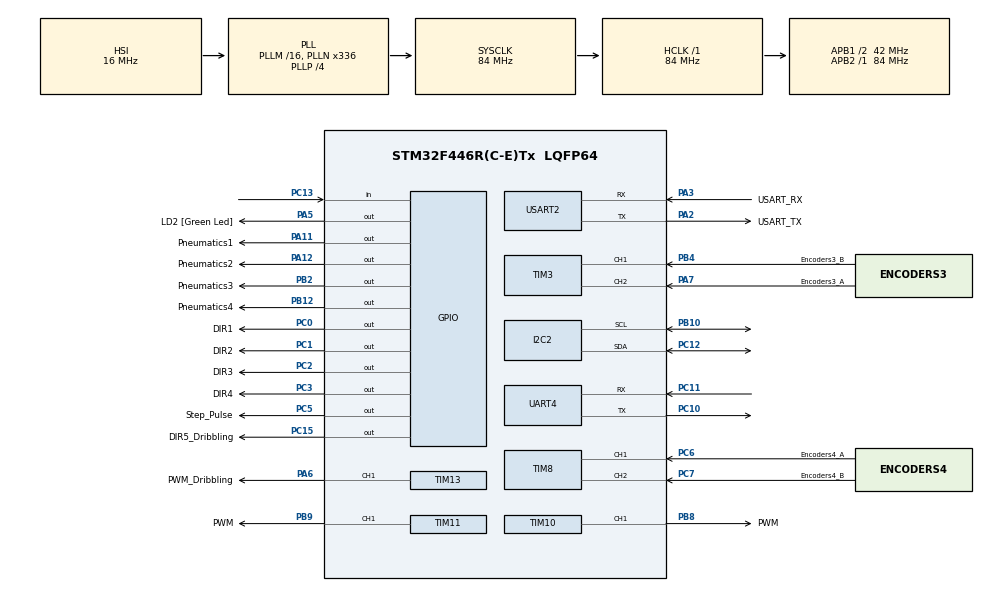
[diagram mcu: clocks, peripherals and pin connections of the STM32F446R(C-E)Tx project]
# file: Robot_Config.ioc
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Dma.Request0=UART4_RX
Dma.UART4_RX.0.Direction=DMA_PERIPH_TO_MEMORY
Dma.UART4_RX.0.FIFOMode=DMA_FIFOMODE_DISABLE
Dma.UART4_RX.0.Instance=DMA1_Stream2
Dma.UART4_RX.0.MemDataAlignment=DMA_MDATAALIGN_BYTE
Dma.UART4_RX.0.MemInc=DMA_MINC_ENABLE
Dma.UART4_RX.0.Mode=DMA_CIRCULAR
Dma.UART4_RX.0.PeriphDataAlignment=DMA_PDATAALIGN_BYTE
Dma.UART4_RX.0.PeriphInc=DMA_PINC_DISABLE
Dma.UART4_RX.0.Priority=DMA_PRIORITY_LOW
Mcu.Family=STM32F4
Mcu.Name=STM32F446R(C-E)Tx
Mcu.Package=LQFP64
NVIC.DMA1_Stream2_IRQn=true\:0\:0\:false\:false\:true\:false\:true\:true
NVIC.PriorityGroup=NVIC_PRIORITYGROUP_0
NVIC.UART4_IRQn=true\:0\:0\:false\:false\:true\:true\:true\:true
PA11.GPIO_Label=Pneumatics1
PA11.Signal=GPIO_Output
PA12.GPIO_Label=Pneumatics2
PA12.Signal=GPIO_Output
PA13.GPIO_Label=TMS
PA13.Mode=Serial_Wire
PA13.Signal=SYS_JTMS-SWDIO
PA14.GPIO_Label=TCK
PA14.Mode=Serial_Wire
PA14.Signal=SYS_JTCK-SWCLK
PA2.GPIO_Label=USART_TX
PA2.Mode=Asynchronous
PA2.Signal=USART2_TX
PA3.GPIO_Label=USART_RX
PA3.Mode=Asynchronous
PA3.Signal=USART2_RX
PA5.GPIO_Label=LD2 [Green Led]
PA5.Signal=GPIO_Output
PA6.GPIO_Label=PWM_Dribbling
PA6.Signal=S_TIM13_CH1
PA7.GPIO_Label=Encoders3_A
PA7.GPIO_PuPd=GPIO_PULLUP
PA7.Signal=S_TIM3_CH2
PB10.Mode=I2C
PB10.Signal=I2C2_SCL
PB12.GPIO_Label=Pneumatics4
PB12.Signal=GPIO_Output
PB2.GPIO_Label=Pneumatics3
PB2.Signal=GPIO_Output
PB3.GPIO_Label=SWO
PB3.Signal=SYS_JTDO-SWO
PB4.GPIO_Label=Encoders3_B
PB4.GPIO_PuPd=GPIO_PULLUP
PB4.Signal=S_TIM3_CH1
PB8.GPIO_Label=PWM
PB8.Signal=S_TIM10_CH1
PB9.GPIO_Label=PWM
PB9.Signal=S_TIM11_CH1
PC0.GPIO_Label=DIR1
PC0.Signal=GPIO_Output
PC1.GPIO_Label=DIR2
PC1.Signal=GPIO_Output
PC10.Mode=Asynchronous
PC10.Signal=UART4_TX
PC11.Mode=Asynchronous
PC11.Signal=UART4_RX
PC12.Mode=I2C
PC12.Signal=I2C2_SDA
PC13.Signal=GPIO_Input
PC14-OSC32_IN.Signal=RCC_OSC32_IN
PC15-OSC32_OUT.GPIO_Label=DIR5_Dribbling
PC15-OSC32_OUT.Signal=GPIO_Output
PC2.GPIO_Label=DIR3
PC2.Signal=GPIO_Output
PC3.GPIO_Label=DIR4
PC3.Signal=GPIO_Output
PC5.GPIO_Label=Step_Pulse
PC5.Signal=GPIO_Output
PC6.GPIO_Label=Encoders4_A
PC6.GPIO_PuPd=GPIO_PULLUP
PC6.Signal=S_TIM8_CH1
PC7.GPIO_Label=Encoders4_B
PC7.GPIO_PuPd=GPIO_PULLUP
PC7.Signal=S_TIM8_CH2
PH0-OSC_IN.Mode=HSE-External-Oscillator
PH0-OSC_IN.Signal=RCC_OSC_IN
PH1-OSC_OUT.Mode=HSE-External-Oscillator
PH1-OSC_OUT.Signal=RCC_OSC_OUT
ProjectManager.HeapSize=0x200
ProjectManager.StackSize=0x400
ProjectManager.TargetToolchain=STM32CubeIDE
RCC.48MHZClocksFreq_Value=84000000
RCC.AHBFreq_Value=84000000
RCC.APB1CLKDivider=RCC_HCLK_DIV2
RCC.APB1Freq_Value=42000000
RCC.APB1TimFreq_Value=84000000
RCC.APB2Freq_Value=84000000
RCC.APB2TimFreq_Value=84000000
RCC.CortexFreq_Value=84000000
RCC.FLatency-AdvancedSettings=FLASH_LATENCY_2
RCC.HCLKFreq_Value=84000000
RCC.HSE_VALUE=8000000
RCC.HSI_VALUE=16000000
RCC.PLLN=336
RCC.PLLP=RCC_PLLP_DIV4
RCC.SYSCLKFreq_VALUE=84000000
RCC.SYSCLKSource=RCC_SYSCLKSOURCE_PLLCLK
RCC.USBFreq_Value=168000000
RCC.VCOOutputFreq_Value=336000000
SH.S_TIM10_CH1.0=TIM10_CH1,PWM Generation1 CH1
SH.S_TIM11_CH1.0=TIM11_CH1,PWM Generation1 CH1
SH.S_TIM13_CH1.0=TIM13_CH1,PWM Generation1 CH1
SH.S_TIM3_CH1.0=TIM3_CH1,Encoder_Interface
SH.S_TIM3_CH2.0=TIM3_CH2,Encoder_Interface
SH.S_TIM8_CH1.0=TIM8_CH1,Encoder_Interface
SH.S_TIM8_CH2.0=TIM8_CH2,Encoder_Interface
TIM10.Channel=TIM_CHANNEL_1
TIM10.Period=999
TIM10.Prescaler=179
TIM11.Channel=TIM_CHANNEL_1
TIM11.Period=999
TIM11.Prescaler=179
TIM13.Channel=TIM_CHANNEL_1
TIM13.Period=999
TIM13.Prescaler=179
TIM5.Period=999
TIM5.Prescaler=179
UART4.VirtualMode=Asynchronous
USART2.VirtualMode=VM_ASYNC
VP_TIM10_VS_ClockSourceINT.Mode=Enable_Timer
VP_TIM11_VS_ClockSourceINT.Mode=Enable_Timer
VP_TIM13_VS_ClockSourceINT.Mode=Enable_Timer
VP_TIM5_VS_ClockSourceINT.Mode=Internal
board=NUCLEO-F446RE

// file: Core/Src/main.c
/* USER CODE BEGIN Header */
/**
 ******************************************************************************
 * @file           : main.c
 * @brief          : Main program body
 ******************************************************************************
 * @attention
 *
 * Copyright (c) 2025 STMicroelectronics.
 * All rights reserved.
 *
 * This software is licensed under terms that can be found in the LICENSE file
 * in the root directory of this software component.
 * If no LICENSE file comes with this software, it is provided AS-IS.
 *
 ******************************************************************************
 */
/* USER CODE END Header */
#include "main.h"

/* USER CODE BEGIN Includes */
#include "BNO055.h"
#include "stdio.h"
#include<stdio.h>
#include<inttypes.h>
#include<Math.h>
#include <stdbool.h>
#include <stdlib.h>

#include "math.h"
#define pi 3.1415926535
/* USER CODE END Includes */

I2C_HandleTypeDef hi2c2;

TIM_HandleTypeDef htim3;
TIM_HandleTypeDef htim5;
TIM_HandleTypeDef htim8;
TIM_HandleTypeDef htim10;
TIM_HandleTypeDef htim11;
TIM_HandleTypeDef htim13;

UART_HandleTypeDef huart4;
UART_HandleTypeDef huart2;
DMA_HandleTypeDef hdma_uart4_rx;

/* USER CODE BEGIN PV */
static uint32_t last_step_time1 = 0;
static int step_state1 = 0;
static int direction1 = 1;
int step_delay = 5;
int step_delay1 = 1;
static int stepper_running1 = 0;  // Toggle flag
static int ebike_running = 0;  // Toggle flag
static int prev_cir = 0;
static int prev_tri = 0;
static int prev_cro = 0;
static int prev_ll1 = 0;
static int prev_rr1 = 0;
BNO055_Data_t imu_data;

float yaw, q0, q1, q2, q3;
/* USER CODE END PV */

void SystemClock_Config(void);
static void MX_GPIO_Init(void);
static void MX_DMA_Init(void);
static void MX_TIM5_Init(void);
static void MX_TIM3_Init(void);
static void MX_TIM8_Init(void);
static void MX_TIM10_Init(void);
static void MX_TIM11_Init(void);
static void MX_TIM13_Init(void);
static void MX_UART4_Init(void);
static void MX_USART2_UART_Init(void);
static void MX_I2C2_Init(void);

/* USER CODE BEGIN 0 */
uint8_t rxbuff[16];
int slow = 75;
int fast = 400;
int Buff1 = 60;
int Buff2 = -60;
int BuffP = 80;
int BuffN = -80;
int target_wf, target_wrr, target_wrl, w;
int32_t lx, ly, rx, ry, cro, squ, tri, cir, up, down, left, right, ll1, rr1,
		ll2, rr2, rL, rR;
int deadzone = 50;
int l0 = 310;

void HAL_UART_RxCpltCallback(UART_HandleTypeDef *huart) {
	HAL_UART_Receive_DMA(&huart4, rxbuff, 16);
}
int constrain(int value, int min_val, int max_val) {
	if (value < min_val)
		return min_val;
	if (value > max_val)
		return max_val;
	return value;
}
void compute3wheel() {
	// Calculate joystick-based velocities
	const double theta = -30 * pi / 180;
	double lx_rotated = lx * cos(theta) - ly * sin(theta);
	double ly_rotated = lx * sin(theta) + ly * cos(theta);
	double vx = ly_rotated;
	double vy = lx_rotated;
	w = rx;
	target_wf = ((-0.5 * vx) + (sqrt(3) / 2) * vy + l0 * w);
	target_wrr = ((-0.5 * vx) - (sqrt(3) / 2) * vy + l0 * w);
	target_wrl = (vx + l0 * w);

	// Constrain target wheel speeds
	target_wf = constrain(target_wf, -800, 800);
	target_wrr = constrain(target_wrr, -800, 800);
	target_wrl = constrain(target_wrl, -800, 800);
}
/* USER CODE END 0 */

int main(void)
{

  /* USER CODE BEGIN 1 */
	HAL_UART_Receive_DMA(&huart4, rxbuff, 16);
  /* USER CODE END 1 */

  /* MCU Configuration--------------------------------------------------------*/

  /* Reset of all peripherals, Initializes the Flash interface and the Systick. */
  HAL_Init();

  /* Configure the system clock */
  SystemClock_Config();

  /* Initialize all configured peripherals */
  MX_GPIO_Init();
  MX_DMA_Init();
  MX_TIM5_Init();
  MX_TIM3_Init();
  MX_TIM8_Init();
  MX_TIM10_Init();
  MX_TIM11_Init();
  MX_TIM13_Init();
  MX_UART4_Init();
  MX_USART2_UART_Init();
  MX_I2C2_Init();
  /* USER CODE BEGIN 2 */
	HAL_UART_Receive_DMA(&huart4, rxbuff, 16);
  /* USER CODE END 2 */

  /* Infinite loop */
	while (1) {

    /* USER CODE BEGIN 3 */

		/* ps5 controller */
		lx = (rxbuff[0] & 0x80) ?
				(int32_t) rxbuff[0] - 256 : (int32_t) rxbuff[0];
		ly = (rxbuff[1] & 0x80) ?
				(int32_t) rxbuff[1] - 256 : (int32_t) rxbuff[1];
		rx = (rxbuff[2] & 0x80) ?
				(int32_t) rxbuff[2] - 256 : (int32_t) rxbuff[2];
		ry = (rxbuff[3] & 0x80) ?
				(int32_t) rxbuff[3] - 256 : (int32_t) rxbuff[3];
		cro = (rxbuff[4] & 0x80) ?
				(int32_t) rxbuff[4] - 256 : (int32_t) rxbuff[4];
		squ = (rxbuff[5] & 0x80) ?
				(int32_t) rxbuff[5] - 256 : (int32_t) rxbuff[5];
		tri = (rxbuff[6] & 0x80) ?
				(int32_t) rxbuff[6] - 256 : (int32_t) rxbuff[6];
		cir = (rxbuff[7] & 0x80) ?
				(int32_t) rxbuff[7] - 256 : (int32_t) rxbuff[7];
		up = (rxbuff[8] & 0x80) ?
				(int32_t) rxbuff[8] - 256 : (int32_t) rxbuff[8];
		down = (rxbuff[9] & 0x80) ?
				(int32_t) rxbuff[9] - 256 : (int32_t) rxbuff[9];
		left = (rxbuff[10] & 0x80) ?
				(int32_t) rxbuff[10] - 256 : (int32_t) rxbuff[10];
		right = (rxbuff[11] & 0x80) ?
				(int32_t) rxbuff[11] - 256 : (int32_t) rxbuff[11];
		ll1 = (rxbuff[12] & 0x80) ?
				(int32_t) rxbuff[12] - 256 : (int32_t) rxbuff[12];
		ll2 = (rxbuff[13] & 0x80) ?
				(int32_t) rxbuff[13] - 256 : (int32_t) rxbuff[13];
		rr1 = (rxbuff[14] & 0x80) ?
				(int32_t) rxbuff[14] - 256 : (int32_t) rxbuff[14];
		rr2 = (rxbuff[15] & 0x80) ?
				(int32_t) rxbuff[15] - 256 : (int32_t) rxbuff[15];
		//	lx = (rxbuff[1] & 0x80) ? (int32_t)rxbuff[1] - 256 : (int32_t)rxbuff[1];
		//	ly = (rxbuff[2] & 0x80) ? (int32_t)rxbuff[2] - 256 : (int32_t)rxbuff[2];
		//	rx = (rxbuff[3] & 0x80) ? (int32_t)rxbuff[3] - 256 : (int32_t)rxbuff[3];
		//	ry = (rxbuff[4] & 0x80) ? (int32_t)rxbuff[4] - 256 : (int32_t)rxbuff[4];
		//	cro= (rxbuff[5] & 0x80) ? (int32_t)rxbuff[5] - 256 : (int32_t)rxbuff[5];
		//	squ= (rxbuff[6] & 0x80) ? (int32_t)rxbuff[6] - 256 : (int32_t)rxbuff[6];
		//	tri= (rxbuff[7] & 0x80) ? (int32_t)rxbuff[7] - 256 : (int32_t)rxbuff[7];
		//	cir= (rxbuff[8] & 0x80) ? (int32_t)rxbuff[8] - 256 : (int32_t)rxbuff[8];
		//	up= (rxbuff[8] & 0x80) ? (int32_t)rxbuff[9] - 256 : (int32_t)rxbuff[9];
		//	down= (rxbuff[10] & 0x80) ? (int32_t)rxbuff[10] - 256 : (int32_t)rxbuff[10];
		//	left= (rxbuff[11] & 0x80) ? (int32_t)rxbuff[11] - 256 : (int32_t)rxbuff[11];
		//	right=(rxbuff[12] & 0x80) ? (int32_t)rxbuff[12] - 256 : (int32_t)rxbuff[12];
		//	ll1= (rxbuff[13] & 0x80) ? (int32_t)rxbuff[13] - 256 : (int32_t)rxbuff[13];
		//	ll2= (rxbuff[14] & 0x80) ? (int32_t)rxbuff[14] - 256 : (int32_t)rxbuff[14];
		//	rr1= (rxbuff[15] & 0x80) ? (int32_t)rxbuff[15] - 256 : (int32_t)rxbuff[15];
		//	rr2= (rxbuff[16] & 0x80) ? (int32_t)rxbuff[16] - 256 : (int32_t)rxbuff[16];
		if (abs(lx) < deadzone)
			lx = 0;
		if (abs(ly) < deadzone)
			ly = 0;
		if (abs(rx) < deadzone)
			rx = 0;
		else
			rx = (rx > 0) ? rx - deadzone : rx + deadzone;
		if (abs(ry) < deadzone)
			ry = 0;
		lx = (lx * 950) / 127;  // Assuming joystick range is -127 to +127
		ly = (ly * 950) / 127;
		rx = (rx * 950) / 127;
		rL = sqrt(lx * lx + ly * ly);
		rR = sqrt(rx * rx + ry * ry);
		//		printf("Received Integers: %ld %ld %ld %ld %ld %ld %ld %ld %ld %ld\r\n",
		//				lx, ly, rx, ry, cro, squ, tri, cir, ll1, rr1);
				  printf("Received Integers: %ld %ld %ld %ld %ld %ld %ld %ld\r\n", lx, ly, rx, ry, cro, squ, tri, cir);

		/* 3 encoders */
//		uint16_t raw_counter1 = __HAL_TIM_GET_COUNTER(&htim1);
//		uint32_t raw_counter2 = __HAL_TIM_GET_COUNTER(&htim2);
//		uint16_t raw_counter3 = __HAL_TIM_GET_COUNTER(&htim3);
//
//		// Convert to signed values
//		int16_t signed_counter1 =
//				(raw_counter1 < 32768) ?
//						(int16_t) raw_counter1 :
//						(int16_t) (raw_counter1 - 65536);
//		int32_t signed_counter2 =
//				(raw_counter2 < 2147483648) ?
//						(int32_t) raw_counter2 :
//						(int32_t) (raw_counter2 - 4294967296);
//		int16_t signed_counter3 =
//				(raw_counter3 < 32768) ?
//						(int16_t) raw_counter3 :
//						(int16_t) (raw_counter3 - 65536);
//
//		printf("Encoder position: %d %d %d\r\n", signed_counter1,
//				signed_counter2, signed_counter3);

		/* 3 wheel */
		compute3wheel();
		if (target_wf >= 0) {
			TIM5->CCR1 = target_wf;
			HAL_TIM_PWM_Start(&htim5, TIM_CHANNEL_1);
			HAL_GPIO_WritePin(GPIOC, GPIO_PIN_0, 0);
		} else {
			TIM5->CCR1 = -target_wf;
			HAL_TIM_PWM_Start(&htim5, TIM_CHANNEL_1);
			HAL_GPIO_WritePin(GPIOC, GPIO_PIN_0, 1);
		}
		if (target_wrr >= 0) {
			TIM10->CCR2 = target_wrr;
			HAL_TIM_PWM_Start(&htim10, TIM_CHANNEL_1);
			HAL_GPIO_WritePin(GPIOC, GPIO_PIN_1, 0);
		} else {
			TIM10->CCR2 = -target_wrr;
			HAL_TIM_PWM_Start(&htim10, TIM_CHANNEL_1);
			HAL_GPIO_WritePin(GPIOC, GPIO_PIN_1, 1);
		}
		if (target_wrl >= 0) {
			TIM11->CCR3 = target_wrl;
			HAL_TIM_PWM_Start(&htim11, TIM_CHANNEL_1);
			HAL_GPIO_WritePin(GPIOC, GPIO_PIN_2, 0);
		} else {
			TIM11->CCR3 = -target_wrl;
			HAL_TIM_PWM_Start(&htim11, TIM_CHANNEL_1);
			HAL_GPIO_WritePin(GPIOC, GPIO_PIN_2, 1);
		}

		/* Stepper */
		HAL_GPIO_WritePin(GPIOC, GPIO_PIN_3,
				direction1 ? GPIO_PIN_SET : GPIO_PIN_RESET);

		if (ll1 == 1 && !prev_ll1) {  // LL1 button pressed
			direction1 = 1;  // Set to Anti-clockwise
			stepper_running1 = 1;
		}
		if (rr1 == 1 && !prev_rr1) {  // RR1 button pressed
			direction1 = 0;  // Set to Clockwise
			stepper_running1 = 1;
		}
		if (cir == 1 && !prev_cir) {
			stepper_running1 = 0;
		}
		prev_ll1 = ll1;
		prev_rr1 = rr1;
		prev_cir = cir;
		if (stepper_running1
				&& (HAL_GetTick() - last_step_time1) >= step_delay1) {
			last_step_time1 = HAL_GetTick(); // Update last step time

			if (step_state1 == 0) {
				HAL_GPIO_WritePin(GPIOC, GPIO_PIN_5, GPIO_PIN_SET); // Step HIGH
				step_state1 = 1;
			} else {
				HAL_GPIO_WritePin(GPIOC, GPIO_PIN_5, GPIO_PIN_RESET); // Step LOW
				step_state1 = 0;
			}
		}

		/* IMU */
		if (BNO055_GetAllData(&hi2c2, &imu_data) == HAL_OK) {
			// Print accelerometer data (m/s^2)
			//		  printf("Accel: X=%.2f, Y=%.2f, Z=%.2f m/s^2\n",
			//				 imu_data.accel_x, imu_data.accel_y, imu_data.accel_z);

			// Print gyroscope data (degrees/s)
			//		  printf("Gyro: X=%.2f, Y=%.2f, Z=%.2f deg/s\n",
			//				 imu_data.gyro_x, imu_data.gyro_y, imu_data.gyro_z);
			//		  printf("\n\n");
			// Print orientation data
			q0 = imu_data.quat_w;
			q1 = imu_data.quat_x;
			q2 = imu_data.quat_y;
			q3 = imu_data.quat_z;
			yaw = -(atan2(2 * (q0 * q3 + q1 * q2), 1 - 2 * (q2 * q2 + q3 * q3))
					- pi / 2);
			yaw = yaw * (180.0 / pi);
			printf("Euler: Yaw=%.2f\n\r", yaw);
			printf("\n\n");
		}

		HAL_Delay(100); // Read at 10Hz

		/* Dribbling */
		if (tri == 1 && !prev_tri) {
			ebike_running = 1;
		}
		if (cro == 1 && !prev_cro) {  // RR1 button pressed
			direction1 = 0;  // Set to Clockwise
			stepper_running1 = 1;
		}
		prev_tri = tri;
		prev_cro = cro;
		if (ebike_running) {
			HAL_GPIO_WritePin(GPIOC, GPIO_PIN_15, 1);
			TIM13->CCR1 = (2000 * 999) / 3500;
			HAL_TIM_PWM_Start(&htim13, TIM_CHANNEL_1);
		}
	}
  /* USER CODE END 3 */
}

void SystemClock_Config(void)
{
  RCC_OscInitTypeDef RCC_OscInitStruct = {0};
  RCC_ClkInitTypeDef RCC_ClkInitStruct = {0};

  /** Configure the main internal regulator output voltage
  */
  __HAL_RCC_PWR_CLK_ENABLE();
  __HAL_PWR_VOLTAGESCALING_CONFIG(PWR_REGULATOR_VOLTAGE_SCALE3);

  /** Initializes the RCC Oscillators according to the specified parameters
  * in the RCC_OscInitTypeDef structure.
  */
  RCC_OscInitStruct.OscillatorType = RCC_OSCILLATORTYPE_HSI;
  RCC_OscInitStruct.HSIState = RCC_HSI_ON;
  RCC_OscInitStruct.HSICalibrationValue = RCC_HSICALIBRATION_DEFAULT;
  RCC_OscInitStruct.PLL.PLLState = RCC_PLL_ON;
  RCC_OscInitStruct.PLL.PLLSource = RCC_PLLSOURCE_HSI;
  RCC_OscInitStruct.PLL.PLLM = 16;
  RCC_OscInitStruct.PLL.PLLN = 336;
  RCC_OscInitStruct.PLL.PLLP = RCC_PLLP_DIV4;
  RCC_OscInitStruct.PLL.PLLQ = 2;
  RCC_OscInitStruct.PLL.PLLR = 2;
  if (HAL_RCC_OscConfig(&RCC_OscInitStruct) != HAL_OK)
  {
    Error_Handler();
  }

  /** Initializes the CPU, AHB and APB buses clocks
  */
  RCC_ClkInitStruct.ClockType = RCC_CLOCKTYPE_HCLK|RCC_CLOCKTYPE_SYSCLK
                              |RCC_CLOCKTYPE_PCLK1|RCC_CLOCKTYPE_PCLK2;
  RCC_ClkInitStruct.SYSCLKSource = RCC_SYSCLKSOURCE_PLLCLK;
  RCC_ClkInitStruct.AHBCLKDivider = RCC_SYSCLK_DIV1;
  RCC_ClkInitStruct.APB1CLKDivider = RCC_HCLK_DIV2;
  RCC_ClkInitStruct.APB2CLKDivider = RCC_HCLK_DIV1;

  if (HAL_RCC_ClockConfig(&RCC_ClkInitStruct, FLASH_LATENCY_2) != HAL_OK)
  {
    Error_Handler();
  }
}

static void MX_I2C2_Init(void)
{

  hi2c2.Instance = I2C2;
  hi2c2.Init.ClockSpeed = 100000;
  hi2c2.Init.DutyCycle = I2C_DUTYCYCLE_2;
  hi2c2.Init.OwnAddress1 = 0;
  hi2c2.Init.AddressingMode = I2C_ADDRESSINGMODE_7BIT;
  hi2c2.Init.DualAddressMode = I2C_DUALADDRESS_DISABLE;
  hi2c2.Init.OwnAddress2 = 0;
  hi2c2.Init.GeneralCallMode = I2C_GENERALCALL_DISABLE;
  hi2c2.Init.NoStretchMode = I2C_NOSTRETCH_DISABLE;
  if (HAL_I2C_Init(&hi2c2) != HAL_OK)
  {
    Error_Handler();
  }

}

static void MX_TIM3_Init(void)
{

  TIM_Encoder_InitTypeDef sConfig = {0};
  TIM_MasterConfigTypeDef sMasterConfig = {0};

  htim3.Instance = TIM3;
  htim3.Init.Prescaler = 0;
  htim3.Init.CounterMode = TIM_COUNTERMODE_UP;
  htim3.Init.Period = 65535;
  htim3.Init.ClockDivision = TIM_CLOCKDIVISION_DIV1;
  htim3.Init.AutoReloadPreload = TIM_AUTORELOAD_PRELOAD_DISABLE;
  sConfig.EncoderMode = TIM_ENCODERMODE_TI1;
  sConfig.IC1Polarity = TIM_ICPOLARITY_RISING;
  sConfig.IC1Selection = TIM_ICSELECTION_DIRECTTI;
  sConfig.IC1Prescaler = TIM_ICPSC_DIV1;
  sConfig.IC1Filter = 0;
  sConfig.IC2Polarity = TIM_ICPOLARITY_RISING;
  sConfig.IC2Selection = TIM_ICSELECTION_DIRECTTI;
  sConfig.IC2Prescaler = TIM_ICPSC_DIV1;
  sConfig.IC2Filter = 0;
  if (HAL_TIM_Encoder_Init(&htim3, &sConfig) != HAL_OK)
  {
    Error_Handler();
  }
  sMasterConfig.MasterOutputTrigger = TIM_TRGO_RESET;
  sMasterConfig.MasterSlaveMode = TIM_MASTERSLAVEMODE_DISABLE;
  if (HAL_TIMEx_MasterConfigSynchronization(&htim3, &sMasterConfig) != HAL_OK)
  {
    Error_Handler();
  }

}

static void MX_TIM5_Init(void)
{

  TIM_ClockConfigTypeDef sClockSourceConfig = {0};
  TIM_MasterConfigTypeDef sMasterConfig = {0};

  htim5.Instance = TIM5;
  htim5.Init.Prescaler = 179;
  htim5.Init.CounterMode = TIM_COUNTERMODE_UP;
  htim5.Init.Period = 999;
  htim5.Init.ClockDivision = TIM_CLOCKDIVISION_DIV1;
  htim5.Init.AutoReloadPreload = TIM_AUTORELOAD_PRELOAD_DISABLE;
  if (HAL_TIM_Base_Init(&htim5) != HAL_OK)
  {
    Error_Handler();
  }
  sClockSourceConfig.ClockSource = TIM_CLOCKSOURCE_INTERNAL;
  if (HAL_TIM_ConfigClockSource(&htim5, &sClockSourceConfig) != HAL_OK)
  {
    Error_Handler();
  }
  sMasterConfig.MasterOutputTrigger = TIM_TRGO_RESET;
  sMasterConfig.MasterSlaveMode = TIM_MASTERSLAVEMODE_DISABLE;
  if (HAL_TIMEx_MasterConfigSynchronization(&htim5, &sMasterConfig) != HAL_OK)
  {
    Error_Handler();
  }

}

static void MX_TIM8_Init(void)
{

  TIM_Encoder_InitTypeDef sConfig = {0};
  TIM_MasterConfigTypeDef sMasterConfig = {0};

  htim8.Instance = TIM8;
  htim8.Init.Prescaler = 0;
  htim8.Init.CounterMode = TIM_COUNTERMODE_UP;
  htim8.Init.Period = 65535;
  htim8.Init.ClockDivision = TIM_CLOCKDIVISION_DIV1;
  htim8.Init.RepetitionCounter = 0;
  htim8.Init.AutoReloadPreload = TIM_AUTORELOAD_PRELOAD_DISABLE;
  sConfig.EncoderMode = TIM_ENCODERMODE_TI1;
  sConfig.IC1Polarity = TIM_ICPOLARITY_RISING;
  sConfig.IC1Selection = TIM_ICSELECTION_DIRECTTI;
  sConfig.IC1Prescaler = TIM_ICPSC_DIV1;
  sConfig.IC1Filter = 0;
  sConfig.IC2Polarity = TIM_ICPOLARITY_RISING;
  sConfig.IC2Selection = TIM_ICSELECTION_DIRECTTI;
  sConfig.IC2Prescaler = TIM_ICPSC_DIV1;
  sConfig.IC2Filter = 0;
  if (HAL_TIM_Encoder_Init(&htim8, &sConfig) != HAL_OK)
  {
    Error_Handler();
  }
  sMasterConfig.MasterOutputTrigger = TIM_TRGO_RESET;
  sMasterConfig.MasterSlaveMode = TIM_MASTERSLAVEMODE_DISABLE;
  if (HAL_TIMEx_MasterConfigSynchronization(&htim8, &sMasterConfig) != HAL_OK)
  {
    Error_Handler();
  }

}

static void MX_TIM10_Init(void)
{

  TIM_OC_InitTypeDef sConfigOC = {0};

  htim10.Instance = TIM10;
  htim10.Init.Prescaler = 179;
  htim10.Init.CounterMode = TIM_COUNTERMODE_UP;
  htim10.Init.Period = 999;
  htim10.Init.ClockDivision = TIM_CLOCKDIVISION_DIV1;
  htim10.Init.AutoReloadPreload = TIM_AUTORELOAD_PRELOAD_DISABLE;
  if (HAL_TIM_Base_Init(&htim10) != HAL_OK)
  {
    Error_Handler();
  }
  if (HAL_TIM_PWM_Init(&htim10) != HAL_OK)
  {
    Error_Handler();
  }
  sConfigOC.OCMode = TIM_OCMODE_PWM1;
  sConfigOC.Pulse = 0;
  sConfigOC.OCPolarity = TIM_OCPOLARITY_HIGH;
  sConfigOC.OCFastMode = TIM_OCFAST_DISABLE;
  if (HAL_TIM_PWM_ConfigChannel(&htim10, &sConfigOC, TIM_CHANNEL_1) != HAL_OK)
  {
    Error_Handler();
  }
  HAL_TIM_MspPostInit(&htim10);

}

static void MX_TIM11_Init(void)
{

  TIM_OC_InitTypeDef sConfigOC = {0};

  htim11.Instance = TIM11;
  htim11.Init.Prescaler = 179;
  htim11.Init.CounterMode = TIM_COUNTERMODE_UP;
  htim11.Init.Period = 999;
  htim11.Init.ClockDivision = TIM_CLOCKDIVISION_DIV1;
  htim11.Init.AutoReloadPreload = TIM_AUTORELOAD_PRELOAD_DISABLE;
  if (HAL_TIM_Base_Init(&htim11) != HAL_OK)
  {
    Error_Handler();
  }
  if (HAL_TIM_PWM_Init(&htim11) != HAL_OK)
  {
    Error_Handler();
  }
  sConfigOC.OCMode = TIM_OCMODE_PWM1;
  sConfigOC.Pulse = 0;
  sConfigOC.OCPolarity = TIM_OCPOLARITY_HIGH;
  sConfigOC.OCFastMode = TIM_OCFAST_DISABLE;
  if (HAL_TIM_PWM_ConfigChannel(&htim11, &sConfigOC, TIM_CHANNEL_1) != HAL_OK)
  {
    Error_Handler();
  }
  HAL_TIM_MspPostInit(&htim11);

}

static void MX_TIM13_Init(void)
{

  TIM_OC_InitTypeDef sConfigOC = {0};

  htim13.Instance = TIM13;
  htim13.Init.Prescaler = 179;
  htim13.Init.CounterMode = TIM_COUNTERMODE_UP;
  htim13.Init.Period = 999;
  htim13.Init.ClockDivision = TIM_CLOCKDIVISION_DIV1;
  htim13.Init.AutoReloadPreload = TIM_AUTORELOAD_PRELOAD_DISABLE;
  if (HAL_TIM_Base_Init(&htim13) != HAL_OK)
  {
    Error_Handler();
  }
  if (HAL_TIM_PWM_Init(&htim13) != HAL_OK)
  {
    Error_Handler();
  }
  sConfigOC.OCMode = TIM_OCMODE_PWM1;
  sConfigOC.Pulse = 0;
  sConfigOC.OCPolarity = TIM_OCPOLARITY_HIGH;
  sConfigOC.OCFastMode = TIM_OCFAST_DISABLE;
  if (HAL_TIM_PWM_ConfigChannel(&htim13, &sConfigOC, TIM_CHANNEL_1) != HAL_OK)
  {
    Error_Handler();
  }
  HAL_TIM_MspPostInit(&htim13);

}

static void MX_UART4_Init(void)
{

  huart4.Instance = UART4;
  huart4.Init.BaudRate = 115200;
  huart4.Init.WordLength = UART_WORDLENGTH_8B;
  huart4.Init.StopBits = UART_STOPBITS_1;
  huart4.Init.Parity = UART_PARITY_NONE;
  huart4.Init.Mode = UART_MODE_TX_RX;
  huart4.Init.HwFlowCtl = UART_HWCONTROL_NONE;
  huart4.Init.OverSampling = UART_OVERSAMPLING_16;
  if (HAL_UART_Init(&huart4) != HAL_OK)
  {
    Error_Handler();
  }

}

static void MX_USART2_UART_Init(void)
{

  huart2.Instance = USART2;
  huart2.Init.BaudRate = 115200;
  huart2.Init.WordLength = UART_WORDLENGTH_8B;
  huart2.Init.StopBits = UART_STOPBITS_1;
  huart2.Init.Parity = UART_PARITY_NONE;
  huart2.Init.Mode = UART_MODE_TX_RX;
  huart2.Init.HwFlowCtl = UART_HWCONTROL_NONE;
  huart2.Init.OverSampling = UART_OVERSAMPLING_16;
  if (HAL_UART_Init(&huart2) != HAL_OK)
  {
    Error_Handler();
  }

}

static void MX_DMA_Init(void)
{

  /* DMA controller clock enable */
  __HAL_RCC_DMA1_CLK_ENABLE();

  /* DMA interrupt init */
  /* DMA1_Stream2_IRQn interrupt configuration */
  HAL_NVIC_SetPriority(DMA1_Stream2_IRQn, 0, 0);
  HAL_NVIC_EnableIRQ(DMA1_Stream2_IRQn);

}

static void MX_GPIO_Init(void)
{
  GPIO_InitTypeDef GPIO_InitStruct = {0};

  /* GPIO Ports Clock Enable */
  __HAL_RCC_GPIOC_CLK_ENABLE();
  __HAL_RCC_GPIOH_CLK_ENABLE();
  __HAL_RCC_GPIOA_CLK_ENABLE();
  __HAL_RCC_GPIOB_CLK_ENABLE();

  /*Configure GPIO pin Output Level */
  HAL_GPIO_WritePin(GPIOC, DIR5_Dribbling_Pin|DIR1_Pin|DIR2_Pin|DIR3_Pin
                          |DIR4_Pin|Step_Pulse_Pin, GPIO_PIN_RESET);

  /*Configure GPIO pin Output Level */
  HAL_GPIO_WritePin(GPIOA, LD2_Pin|Pneumatics1_Pin|Pneumatics2_Pin, GPIO_PIN_RESET);

  /*Configure GPIO pin Output Level */
  HAL_GPIO_WritePin(GPIOB, Pneumatics3_Pin|Pneumatics4_Pin, GPIO_PIN_RESET);

  /*Configure GPIO pin : PC13 */
  GPIO_InitStruct.Pin = GPIO_PIN_13;
  GPIO_InitStruct.Mode = GPIO_MODE_INPUT;
  GPIO_InitStruct.Pull = GPIO_NOPULL;
  HAL_GPIO_Init(GPIOC, &GPIO_InitStruct);

  /*Configure GPIO pins : DIR5_Dribbling_Pin DIR1_Pin DIR2_Pin DIR3_Pin
                           DIR4_Pin Step_Pulse_Pin */
  GPIO_InitStruct.Pin = DIR5_Dribbling_Pin|DIR1_Pin|DIR2_Pin|DIR3_Pin
                          |DIR4_Pin|Step_Pulse_Pin;
  GPIO_InitStruct.Mode = GPIO_MODE_OUTPUT_PP;
  GPIO_InitStruct.Pull = GPIO_NOPULL;
  GPIO_InitStruct.Speed = GPIO_SPEED_FREQ_LOW;
  HAL_GPIO_Init(GPIOC, &GPIO_InitStruct);

  /*Configure GPIO pins : LD2_Pin Pneumatics1_Pin Pneumatics2_Pin */
  GPIO_InitStruct.Pin = LD2_Pin|Pneumatics1_Pin|Pneumatics2_Pin;
  GPIO_InitStruct.Mode = GPIO_MODE_OUTPUT_PP;
  GPIO_InitStruct.Pull = GPIO_NOPULL;
  GPIO_InitStruct.Speed = GPIO_SPEED_FREQ_LOW;
  HAL_GPIO_Init(GPIOA, &GPIO_InitStruct);

  /*Configure GPIO pins : Pneumatics3_Pin Pneumatics4_Pin */
  GPIO_InitStruct.Pin = Pneumatics3_Pin|Pneumatics4_Pin;
  GPIO_InitStruct.Mode = GPIO_MODE_OUTPUT_PP;
  GPIO_InitStruct.Pull = GPIO_NOPULL;
  GPIO_InitStruct.Speed = GPIO_SPEED_FREQ_LOW;
  HAL_GPIO_Init(GPIOB, &GPIO_InitStruct);

}

/* USER CODE BEGIN 4 */
int _write(int file, char *ptr, int len) {
	HAL_UART_Transmit(&huart2, (uint8_t*) ptr, len, HAL_MAX_DELAY);
	return len;
}
/* USER CODE END 4 */

void Error_Handler(void)
{
	__disable_irq();
	while (1) {
	}
}
